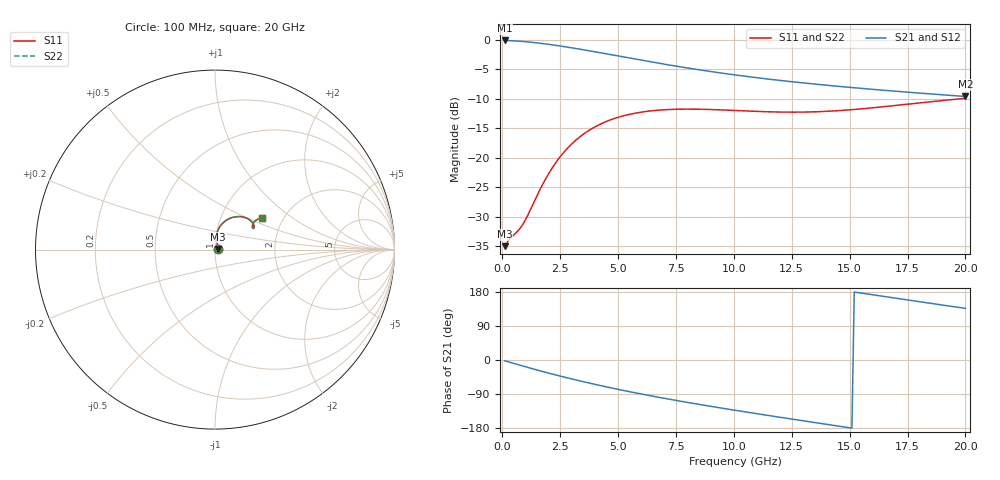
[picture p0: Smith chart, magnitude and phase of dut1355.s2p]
! Touchstone file exported from HFSS 2024.1.0
!  File:  C:/UserFiles/LocalFiles/RDL_TSV_Batchsim/temp_RDL_TSV_1355_1780394948.aedt
!  Generated:  06:25:21 PM Jun  2, 2026
!  Design:  RDL_TSV
!  Project:  temp_RDL_TSV_1355_1780394948
!  Setup:  Setup1
!  Solution:  Sweep
! Variables:
!  dtsv = 6.84um
!  hbump = 3um
!  htsv = 77.57um
!  ldown = 457.7um
!  lrdl = 474.78um
!  p = 40
!  p1 = 50.36um
!  rhole = 10um
!  subl = 3272.22um
!  t = 450um
!  tdown = 3.97um
!  trdl = 2.39um
!  viad = 10um
!  wdown = 27.37um
!  wrdl = 24.61um
!  xbump = 18um
# GHz S MA R 50.000000
! Terminal data exported
! Port[1] = TM1_1_T1
! Port[2] = TM1_4_T1
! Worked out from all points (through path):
!   200 points, 100 MHz to 20 GHz, reference 50 ohm
!   highest |S21| = -0.16 dB at 100 MHz (marker M1); lowest = -9.6 dB at 20 GHz (marker M2)
!   group delay of S21, straight-line fit = 29.5 ps
!   lowest |S11| = -35.0 dB at 100 MHz (marker M3), VSWR 1.04, Z = 51.8 + j0.338 ohm
!   |S11| at or under -10 dB: start of sweep to 19.89 GHz
!   |S22| runs from -35.0 to -10.0 dB; largest |S21 - S12| = 8.6e-15
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0.1  0.0178 10.6  0.9822 -1.9  0.9822 -1.9  0.0178 10.6
! Gamma 0 0 0 0
! Port Impedance 50 0 50 0
0.3  0.02028 24.8  0.9789 -5.5  0.9789 -5.5  0.02028 24.8
0.7  0.02428 46.7  0.9691 -12.6  0.9691 -12.6  0.02429 46.6
0.9  0.02751 58.2  0.9626 -16.1  0.9626 -16.1  0.02751 58.1
1.4  0.04327 78.2  0.942 -24.7  0.942 -24.7  0.0432 78.0
1.8  0.06228 83.8  0.9218 -31.3  0.9218 -31.3  0.06212 83.6
2.2  0.08437 84.1  0.8994 -37.8  0.8994 -37.8  0.08411 83.9
2.6  0.1076 81.8  0.8754 -44.0  0.8754 -44.0  0.1073 81.6
3  0.1307 78.2  0.8506 -50.0  0.8506 -50.0  0.1303 78.0
3.5  0.1578 72.9  0.819 -57.3  0.819 -57.3  0.1573 72.7
4.2  0.1907 65.2  0.7749 -67.0  0.7749 -67.0  0.1899 65.1
4.9  0.2164 57.8  0.732 -76.2  0.732 -76.2  0.2155 57.8
5.8  0.2392 49.6  0.6801 -87.3  0.6801 -87.3  0.2381 49.5
6.8  0.2528 42.0  0.6281 -98.9  0.6281 -98.9  0.2516 41.9
8.4  0.2572 33.7  0.5581 -116.1  0.5581 -116.1  0.2558 33.6
10.1  0.2505 29.4  0.5 -133.1  0.5 -133.1  0.249 29.4
11.7  0.2439 29.0  0.4574 -148.4  0.4574 -148.4  0.2424 29.1
13.4  0.2441 31.1  0.4213 -164.2  0.4213 -164.2  0.2427 31.2
15  0.2539 33.7  0.3936 -178.9  0.3936 -178.9  0.2527 33.8
16.7  0.2729 35.3  0.3687 165.7  0.3687 165.7  0.2719 35.5
18.4  0.2962 35.3  0.3473 150.5  0.3473 150.5  0.2953 35.5
20  0.3177 34.0  0.3297 136.2  0.3297 136.2  0.317 34.1
